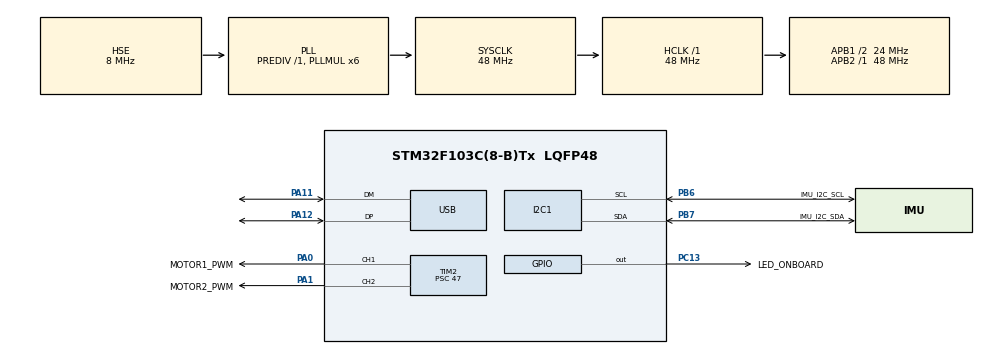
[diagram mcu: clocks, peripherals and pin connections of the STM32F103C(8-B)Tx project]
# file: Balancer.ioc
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Mcu.Family=STM32F1
Mcu.Name=STM32F103C(8-B)Tx
Mcu.Package=LQFP48
NVIC.PriorityGroup=NVIC_PRIORITYGROUP_4
NVIC.TIM3_IRQn=true\:0\:0\:false\:false\:true\:true\:true\:true
NVIC.USB_LP_CAN1_RX0_IRQn=true\:0\:0\:false\:false\:true\:false\:true\:true
PA0-WKUP.GPIO_Label=MOTOR1_PWM
PA0-WKUP.Signal=S_TIM2_CH1_ETR
PA1.GPIO_Label=MOTOR2_PWM
PA1.Signal=S_TIM2_CH2
PA11.Mode=Device
PA11.Signal=USB_DM
PA12.Mode=Device
PA12.Signal=USB_DP
PA13.Mode=Serial_Wire
PA13.Signal=SYS_JTMS-SWDIO
PA14.Mode=Serial_Wire
PA14.Signal=SYS_JTCK-SWCLK
PB6.GPIO_Label=IMU_I2C_SCL
PB6.Mode=I2C
PB6.Signal=I2C1_SCL
PB7.GPIO_Label=IMU_I2C_SDA
PB7.Mode=I2C
PB7.Signal=I2C1_SDA
PC13-TAMPER-RTC.GPIO_Label=LED_ONBOARD
PC13-TAMPER-RTC.Signal=GPIO_Output
PD0-OSC_IN.Mode=HSE-External-Oscillator
PD0-OSC_IN.Signal=RCC_OSC_IN
PD1-OSC_OUT.Mode=HSE-External-Oscillator
PD1-OSC_OUT.Signal=RCC_OSC_OUT
ProjectManager.HeapSize=0x200
ProjectManager.StackSize=0x400
ProjectManager.TargetToolchain=STM32CubeIDE
RCC.AHBFreq_Value=48000000
RCC.APB1CLKDivider=RCC_HCLK_DIV2
RCC.APB1Freq_Value=24000000
RCC.APB1TimFreq_Value=48000000
RCC.APB2Freq_Value=48000000
RCC.APB2TimFreq_Value=48000000
RCC.HCLKFreq_Value=48000000
RCC.PLLMUL=RCC_PLL_MUL6
RCC.SYSCLKFreq_VALUE=48000000
RCC.SYSCLKSource=RCC_SYSCLKSOURCE_PLLCLK
RCC.USBFreq_Value=48000000
SH.S_TIM2_CH1_ETR.0=TIM2_CH1,PWM Generation1 CH1
SH.S_TIM2_CH2.0=TIM2_CH2,PWM Generation2 CH2
TIM2.Channel-PWM\ Generation1\ CH1=TIM_CHANNEL_1
TIM2.Channel-PWM\ Generation2\ CH2=TIM_CHANNEL_2
TIM2.Period=19999
TIM2.Prescaler=47
TIM2.Pulse-PWM\ Generation1\ CH1=1000
TIM2.Pulse-PWM\ Generation2\ CH2=1000
TIM3.Period=999
TIM3.Prescaler=47
USB_DEVICE.CLASS_NAME_FS=CDC
USB_DEVICE.VirtualMode=Cdc
USB_DEVICE.VirtualModeFS=Cdc_FS
VP_TIM2_VS_ClockSourceINT.Mode=Internal
VP_TIM3_VS_ClockSourceINT.Mode=Internal
VP_USB_DEVICE_VS_USB_DEVICE_CDC_FS.Mode=CDC_FS
board=custom

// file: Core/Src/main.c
/* USER CODE BEGIN Header */
/**
  ******************************************************************************
  * @file           : main.c
  * @brief          : Main program body
  ******************************************************************************
  * @attention
  *
  * Copyright (c) 2025 STMicroelectronics.
  * All rights reserved.
  *
  * This software is licensed under terms that can be found in the LICENSE file
  * in the root directory of this software component.
  * If no LICENSE file comes with this software, it is provided AS-IS.
  *
  ******************************************************************************
  */
/* USER CODE END Header */
#include "main.h"
#include "usb_device.h"

/* USER CODE BEGIN Includes */
#include "STM32_GPIO.h"
#include "STM32_TIM.h"
#include "STM32_PWM.h"
#include "STM32_I2C.h"

#include "LEDConfig.h"
#include "MotorConfig.h"
#include "IMUConfig.h"

#include "AppConfig.h"
#include "app_main.h"

/* USER CODE END Includes */

I2C_HandleTypeDef hi2c1;

TIM_HandleTypeDef htim2;
TIM_HandleTypeDef htim3;

/* USER CODE BEGIN PV */
TIM_t tim3; // system interrupt timer

// App configurations
TIM_Context_t tim3_ctx = {
  .htim = &htim3
};

const TimerConfig_t timer_cfg = {
  .tim = &tim3,
  .tim_ctx = &tim3_ctx
};

GPIO_Context_t led_gpio_ctx = {
	.gpio_port = LED_ONBOARD_GPIO_Port,
	.pin = LED_ONBOARD_Pin
};

const LED_Config_t led_cfg = {
  .gpio_ctx = &led_gpio_ctx
};

PWM_Context_t left_motor_pwm_ctx = {
  .htim = &htim2,
  .channel = TIM_CHANNEL_2
};

PWM_Context_t right_motor_pwm_ctx = {
  .htim = &htim2,
  .channel = TIM_CHANNEL_1
};

const MotorConfig_t left_motor_cfg = {
  .pwm_ctx = &left_motor_pwm_ctx
};

const MotorConfig_t right_motor_cfg = {
  .pwm_ctx = &right_motor_pwm_ctx
};

I2C_Context_t imu_i2c_ctx = {
  .hi2c = &hi2c1,
  .i2c_mem_addr_size = I2C_MEMADD_SIZE_8BIT
};

const IMU_Config_t imu_cfg = {
  .i2c_ctx = &imu_i2c_ctx
};

const App_Config_t app_cfg = {
  .led_cfg = led_cfg,
  .timer_cfg = timer_cfg,
  .left_motor_cfg = left_motor_cfg,
  .right_motor_cfg = right_motor_cfg,
  .imu_cfg = imu_cfg
};

/* USER CODE END PV */

void SystemClock_Config(void);
static void MX_GPIO_Init(void);
static void MX_TIM2_Init(void);
static void MX_I2C1_Init(void);
static void MX_TIM3_Init(void);

int main(void)
{

  /* MCU Configuration--------------------------------------------------------*/

  /* Reset of all peripherals, Initializes the Flash interface and the Systick. */
  HAL_Init();

  /* Configure the system clock */
  SystemClock_Config();

  /* Initialize all configured peripherals */
  MX_GPIO_Init();
  MX_TIM2_Init();
  MX_I2C1_Init();
  MX_USB_DEVICE_Init();
  MX_TIM3_Init();

  /* Infinite loop */
  /* USER CODE BEGIN WHILE */

  app_main(&app_cfg);

  while (1)
  {
    /* USER CODE END WHILE */

  }
}

void SystemClock_Config(void)
{
  RCC_OscInitTypeDef RCC_OscInitStruct = {0};
  RCC_ClkInitTypeDef RCC_ClkInitStruct = {0};
  RCC_PeriphCLKInitTypeDef PeriphClkInit = {0};

  /** Initializes the RCC Oscillators according to the specified parameters
  * in the RCC_OscInitTypeDef structure.
  */
  RCC_OscInitStruct.OscillatorType = RCC_OSCILLATORTYPE_HSE;
  RCC_OscInitStruct.HSEState = RCC_HSE_ON;
  RCC_OscInitStruct.HSEPredivValue = RCC_HSE_PREDIV_DIV1;
  RCC_OscInitStruct.HSIState = RCC_HSI_ON;
  RCC_OscInitStruct.PLL.PLLState = RCC_PLL_ON;
  RCC_OscInitStruct.PLL.PLLSource = RCC_PLLSOURCE_HSE;
  RCC_OscInitStruct.PLL.PLLMUL = RCC_PLL_MUL6;
  if (HAL_RCC_OscConfig(&RCC_OscInitStruct) != HAL_OK)
  {
    Error_Handler();
  }

  /** Initializes the CPU, AHB and APB buses clocks
  */
  RCC_ClkInitStruct.ClockType = RCC_CLOCKTYPE_HCLK|RCC_CLOCKTYPE_SYSCLK
                              |RCC_CLOCKTYPE_PCLK1|RCC_CLOCKTYPE_PCLK2;
  RCC_ClkInitStruct.SYSCLKSource = RCC_SYSCLKSOURCE_PLLCLK;
  RCC_ClkInitStruct.AHBCLKDivider = RCC_SYSCLK_DIV1;
  RCC_ClkInitStruct.APB1CLKDivider = RCC_HCLK_DIV2;
  RCC_ClkInitStruct.APB2CLKDivider = RCC_HCLK_DIV1;

  if (HAL_RCC_ClockConfig(&RCC_ClkInitStruct, FLASH_LATENCY_1) != HAL_OK)
  {
    Error_Handler();
  }
  PeriphClkInit.PeriphClockSelection = RCC_PERIPHCLK_USB;
  PeriphClkInit.UsbClockSelection = RCC_USBCLKSOURCE_PLL;
  if (HAL_RCCEx_PeriphCLKConfig(&PeriphClkInit) != HAL_OK)
  {
    Error_Handler();
  }
}

static void MX_I2C1_Init(void)
{

  hi2c1.Instance = I2C1;
  hi2c1.Init.ClockSpeed = 100000;
  hi2c1.Init.DutyCycle = I2C_DUTYCYCLE_2;
  hi2c1.Init.OwnAddress1 = 0;
  hi2c1.Init.AddressingMode = I2C_ADDRESSINGMODE_7BIT;
  hi2c1.Init.DualAddressMode = I2C_DUALADDRESS_DISABLE;
  hi2c1.Init.OwnAddress2 = 0;
  hi2c1.Init.GeneralCallMode = I2C_GENERALCALL_DISABLE;
  hi2c1.Init.NoStretchMode = I2C_NOSTRETCH_DISABLE;
  if (HAL_I2C_Init(&hi2c1) != HAL_OK)
  {
    Error_Handler();
  }

}

static void MX_TIM2_Init(void)
{

  TIM_ClockConfigTypeDef sClockSourceConfig = {0};
  TIM_MasterConfigTypeDef sMasterConfig = {0};
  TIM_OC_InitTypeDef sConfigOC = {0};

  htim2.Instance = TIM2;
  htim2.Init.Prescaler = 47;
  htim2.Init.CounterMode = TIM_COUNTERMODE_UP;
  htim2.Init.Period = 19999;
  htim2.Init.ClockDivision = TIM_CLOCKDIVISION_DIV1;
  htim2.Init.AutoReloadPreload = TIM_AUTORELOAD_PRELOAD_DISABLE;
  if (HAL_TIM_Base_Init(&htim2) != HAL_OK)
  {
    Error_Handler();
  }
  sClockSourceConfig.ClockSource = TIM_CLOCKSOURCE_INTERNAL;
  if (HAL_TIM_ConfigClockSource(&htim2, &sClockSourceConfig) != HAL_OK)
  {
    Error_Handler();
  }
  if (HAL_TIM_PWM_Init(&htim2) != HAL_OK)
  {
    Error_Handler();
  }
  sMasterConfig.MasterOutputTrigger = TIM_TRGO_RESET;
  sMasterConfig.MasterSlaveMode = TIM_MASTERSLAVEMODE_DISABLE;
  if (HAL_TIMEx_MasterConfigSynchronization(&htim2, &sMasterConfig) != HAL_OK)
  {
    Error_Handler();
  }
  sConfigOC.OCMode = TIM_OCMODE_PWM1;
  sConfigOC.Pulse = 1000;
  sConfigOC.OCPolarity = TIM_OCPOLARITY_HIGH;
  sConfigOC.OCFastMode = TIM_OCFAST_DISABLE;
  if (HAL_TIM_PWM_ConfigChannel(&htim2, &sConfigOC, TIM_CHANNEL_1) != HAL_OK)
  {
    Error_Handler();
  }
  if (HAL_TIM_PWM_ConfigChannel(&htim2, &sConfigOC, TIM_CHANNEL_2) != HAL_OK)
  {
    Error_Handler();
  }
  HAL_TIM_MspPostInit(&htim2);

}

static void MX_TIM3_Init(void)
{

  TIM_ClockConfigTypeDef sClockSourceConfig = {0};
  TIM_MasterConfigTypeDef sMasterConfig = {0};

  htim3.Instance = TIM3;
  htim3.Init.Prescaler = 47;
  htim3.Init.CounterMode = TIM_COUNTERMODE_UP;
  htim3.Init.Period = 999;
  htim3.Init.ClockDivision = TIM_CLOCKDIVISION_DIV1;
  htim3.Init.AutoReloadPreload = TIM_AUTORELOAD_PRELOAD_DISABLE;
  if (HAL_TIM_Base_Init(&htim3) != HAL_OK)
  {
    Error_Handler();
  }
  sClockSourceConfig.ClockSource = TIM_CLOCKSOURCE_INTERNAL;
  if (HAL_TIM_ConfigClockSource(&htim3, &sClockSourceConfig) != HAL_OK)
  {
    Error_Handler();
  }
  sMasterConfig.MasterOutputTrigger = TIM_TRGO_RESET;
  sMasterConfig.MasterSlaveMode = TIM_MASTERSLAVEMODE_DISABLE;
  if (HAL_TIMEx_MasterConfigSynchronization(&htim3, &sMasterConfig) != HAL_OK)
  {
    Error_Handler();
  }

}

static void MX_GPIO_Init(void)
{
  GPIO_InitTypeDef GPIO_InitStruct = {0};

  /* GPIO Ports Clock Enable */
  __HAL_RCC_GPIOC_CLK_ENABLE();
  __HAL_RCC_GPIOD_CLK_ENABLE();
  __HAL_RCC_GPIOA_CLK_ENABLE();
  __HAL_RCC_GPIOB_CLK_ENABLE();

  /*Configure GPIO pin Output Level */
  HAL_GPIO_WritePin(LED_ONBOARD_GPIO_Port, LED_ONBOARD_Pin, GPIO_PIN_RESET);

  /*Configure GPIO pin : LED_ONBOARD_Pin */
  GPIO_InitStruct.Pin = LED_ONBOARD_Pin;
  GPIO_InitStruct.Mode = GPIO_MODE_OUTPUT_PP;
  GPIO_InitStruct.Pull = GPIO_NOPULL;
  GPIO_InitStruct.Speed = GPIO_SPEED_FREQ_LOW;
  HAL_GPIO_Init(LED_ONBOARD_GPIO_Port, &GPIO_InitStruct);

}

void Error_Handler(void)
{
  __disable_irq();
  while (1)
  {
  }
}
